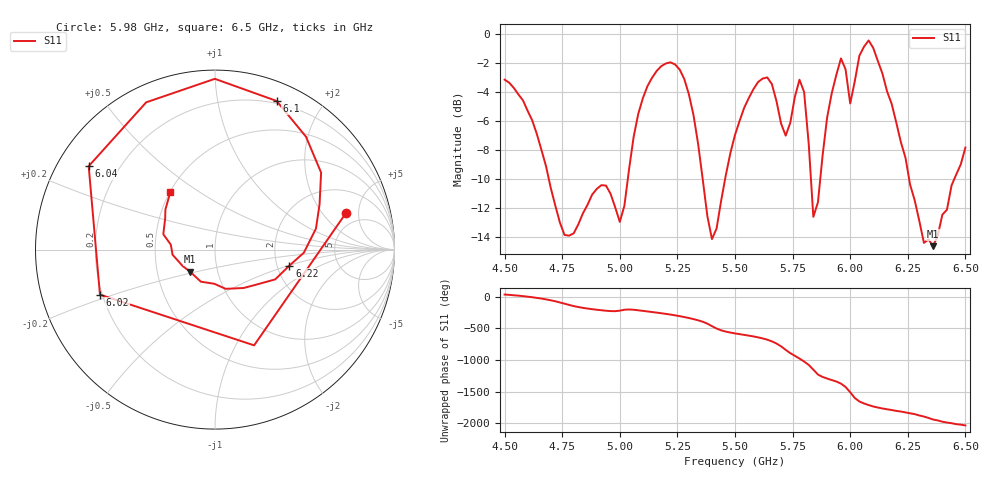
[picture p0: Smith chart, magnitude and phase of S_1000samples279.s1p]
! TOUCHSTONE file generated by CST MICROWAVE STUDIO
! Date and time: Thu Oct 27 14:57:23 2022
! Project name: L.cst
! Parameters = {Di=1.27; Epsilon_r=1.56; InnerDiameter=1.27; Length=2; Lf=10; Lg=60; OuterConductorThickness=0.2921; OuterDiameter=3.6; Wf=3; Wp=41.2; de=1.5; df=6.8; g=0.8; gx=3.91645; gy=0.612835; h=2.34; hf=1.524; px=14.4198; py=13.822; w=9.7; wx=10.5033; wy=13.2092}
! Header version: 2018
! Port assignment regex: !\s*Touchstone port\s*([0-9]+)\s*=\s*(CST MWS port|CST DS port)\s*([0-9]+|Zmin|Zmax)\s*\(\"(.*)\"\)(\s*mode\s*([0-9]+))?.*
! Touchstone port assignment:
! Touchstone port 1 = CST MWS port 1 ("")
# GHz S DB R 50
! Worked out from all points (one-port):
!   101 points, 4.5 GHz to 6.5 GHz, reference 50 ohm
!   lowest |S11| = -14.6 dB at 6.36 GHz (marker M1), VSWR 1.45, Z = 36.8 - j9.3 ohm
!   |S11| at or under -10 dB: 4.692 GHz to 5.035 GHz (343 MHz wide, 7.05 % of centre); 5.36 GHz to 5.457 GHz (97.45 MHz wide, 1.8 % of centre); 6.256 GHz to 6.452 GHz (196.2 MHz wide, 3.09 % of centre) (the widest 3 of 4)
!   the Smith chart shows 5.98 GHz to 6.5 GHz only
!   S11 on the Smith chart (normalised r, x): 5.98 GHz: 3.75, +3.52; 6.02 GHz: 0.19, -0.18; 6.04 GHz: 0.09, +0.30; 6.1 GHz: 0.18, +1.48; 6.22 GHz: 2.34, -0.51; 6.5 GHz: 0.50, +0.39
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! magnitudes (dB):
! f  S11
! 4.5 GHz  -3.1
! 4.62 GHz  -6.0
! 4.76 GHz  -13.9
! 4.92 GHz  -10.4
! 5 GHz  -13.0
! 5.08 GHz  -5.5
! 5.12 GHz  -3.6
! 5.26 GHz  -2.4
! 5.32 GHz  -5.6
! 5.4 GHz  -14.2
! 5.5 GHz  -7.0
! 5.62 GHz  -3.1
! 5.72 GHz  -7.0
! 5.76 GHz  -4.3
! 5.8 GHz  -4.0
! 5.84 GHz  -12.6
! 5.92 GHz  -4.1
! 5.96 GHz  -1.7
! 5.98 GHz  -2.4
! 6 GHz  -4.8
! 6.02 GHz  -3.2
! 6.04 GHz  -1.5
! 6.1 GHz  -0.9
! 6.22 GHz  -7.5
! 6.26 GHz  -10.4
! 6.32 GHz  -14.4
! 6.36 GHz  -14.6
! 6.5 GHz  -7.8
